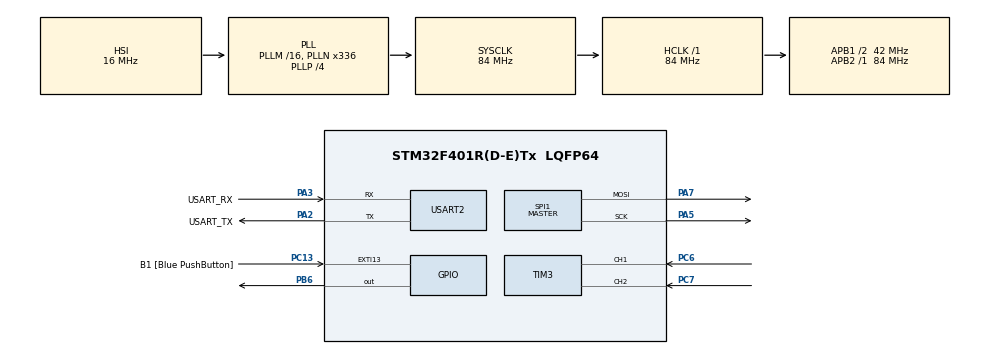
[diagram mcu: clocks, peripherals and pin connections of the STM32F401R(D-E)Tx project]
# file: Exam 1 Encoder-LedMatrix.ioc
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Dma.Request0=USART2_TX
Dma.Request1=SPI1_TX
Dma.SPI1_TX.1.Direction=DMA_MEMORY_TO_PERIPH
Dma.SPI1_TX.1.FIFOMode=DMA_FIFOMODE_DISABLE
Dma.SPI1_TX.1.Instance=DMA2_Stream3
Dma.SPI1_TX.1.MemDataAlignment=DMA_MDATAALIGN_BYTE
Dma.SPI1_TX.1.MemInc=DMA_MINC_ENABLE
Dma.SPI1_TX.1.Mode=DMA_NORMAL
Dma.SPI1_TX.1.PeriphDataAlignment=DMA_PDATAALIGN_BYTE
Dma.SPI1_TX.1.PeriphInc=DMA_PINC_DISABLE
Dma.SPI1_TX.1.Priority=DMA_PRIORITY_LOW
Dma.USART2_TX.0.Direction=DMA_MEMORY_TO_PERIPH
Dma.USART2_TX.0.FIFOMode=DMA_FIFOMODE_DISABLE
Dma.USART2_TX.0.Instance=DMA1_Stream6
Dma.USART2_TX.0.MemDataAlignment=DMA_MDATAALIGN_BYTE
Dma.USART2_TX.0.MemInc=DMA_MINC_ENABLE
Dma.USART2_TX.0.Mode=DMA_NORMAL
Dma.USART2_TX.0.PeriphDataAlignment=DMA_PDATAALIGN_BYTE
Dma.USART2_TX.0.PeriphInc=DMA_PINC_DISABLE
Dma.USART2_TX.0.Priority=DMA_PRIORITY_LOW
Mcu.Family=STM32F4
Mcu.Name=STM32F401R(D-E)Tx
Mcu.Package=LQFP64
NVIC.DMA1_Stream6_IRQn=true\:0\:0\:false\:false\:true\:false\:true\:true
NVIC.DMA2_Stream3_IRQn=true\:0\:0\:false\:false\:true\:false\:true\:true
NVIC.PriorityGroup=NVIC_PRIORITYGROUP_0
NVIC.SPI1_IRQn=true\:0\:0\:false\:false\:true\:true\:true\:true
NVIC.TIM1_UP_TIM10_IRQn=true\:0\:0\:false\:false\:true\:true\:true\:true
NVIC.TIM2_IRQn=true\:0\:0\:false\:false\:true\:true\:true\:true
NVIC.USART2_IRQn=true\:0\:0\:false\:false\:true\:true\:true\:true
PA13.GPIO_Label=TMS
PA13.Mode=Serial_Wire
PA13.Signal=SYS_JTMS-SWDIO
PA14.GPIO_Label=TCK
PA14.Mode=Serial_Wire
PA14.Signal=SYS_JTCK-SWCLK
PA2.GPIO_Label=USART_TX
PA2.GPIO_Mode=GPIO_MODE_AF_PP
PA2.GPIO_PuPd=GPIO_NOPULL
PA2.GPIO_Speed=GPIO_SPEED_FREQ_LOW
PA2.Mode=Asynchronous
PA2.Signal=USART2_TX
PA3.GPIO_Label=USART_RX
PA3.GPIO_Mode=GPIO_MODE_AF_PP
PA3.GPIO_PuPd=GPIO_NOPULL
PA3.GPIO_Speed=GPIO_SPEED_FREQ_LOW
PA3.Mode=Asynchronous
PA3.Signal=USART2_RX
PA5.Mode=TX_Only_Simplex_Unidirect_Master
PA5.Signal=SPI1_SCK
PA7.Mode=TX_Only_Simplex_Unidirect_Master
PA7.Signal=SPI1_MOSI
PB3.GPIO_Label=SWO
PB3.Signal=SYS_JTDO-SWO
PB6.Signal=GPIO_Output
PC13-ANTI_TAMP.GPIO_Label=B1 [Blue PushButton]
PC13-ANTI_TAMP.GPIO_ModeDefaultEXTI=GPIO_MODE_IT_FALLING
PC13-ANTI_TAMP.GPIO_PuPd=GPIO_NOPULL
PC13-ANTI_TAMP.Signal=GPXTI13
PC14-OSC32_IN.Mode=LSE-External-Oscillator
PC14-OSC32_IN.Signal=RCC_OSC32_IN
PC15-OSC32_OUT.Mode=LSE-External-Oscillator
PC15-OSC32_OUT.Signal=RCC_OSC32_OUT
PC6.Signal=S_TIM3_CH1
PC7.Signal=S_TIM3_CH2
PH0\ -\ OSC_IN.Mode=HSE-External-Clock-Source
PH0\ -\ OSC_IN.Signal=RCC_OSC_IN
PH1\ -\ OSC_OUT.Mode=HSE-External-Clock-Source
PH1\ -\ OSC_OUT.Signal=RCC_OSC_OUT
ProjectManager.HeapSize=0x200
ProjectManager.StackSize=0x400
ProjectManager.TargetToolchain=STM32CubeIDE
RCC.48MHZClocksFreq_Value=48000000
RCC.AHBFreq_Value=84000000
RCC.APB1CLKDivider=RCC_HCLK_DIV2
RCC.APB1Freq_Value=42000000
RCC.APB1TimFreq_Value=84000000
RCC.APB2Freq_Value=84000000
RCC.APB2TimFreq_Value=84000000
RCC.CortexFreq_Value=84000000
RCC.HCLKFreq_Value=84000000
RCC.HSE_VALUE=8000000
RCC.HSI_VALUE=16000000
RCC.PLLN=336
RCC.PLLP=RCC_PLLP_DIV4
RCC.PLLQ=7
RCC.SYSCLKFreq_VALUE=84000000
RCC.SYSCLKSource=RCC_SYSCLKSOURCE_PLLCLK
RCC.VCOOutputFreq_Value=336000000
SH.S_TIM3_CH1.0=TIM3_CH1,Encoder_Interface
SH.S_TIM3_CH2.0=TIM3_CH2,Encoder_Interface
SPI1.BaudRatePrescaler=SPI_BAUDRATEPRESCALER_4
SPI1.Direction=SPI_DIRECTION_2LINES
SPI1.Mode=SPI_MODE_MASTER
SPI1.VirtualType=VM_MASTER
TIM1.Period=1000-1
TIM1.Prescaler=8400-1
TIM2.Period=40-1
TIM2.Prescaler=8400-1
TIM3.ClockDivision=TIM_CLOCKDIVISION_DIV4
TIM3.IC1Filter=15
TIM3.IC2Filter=15
TIM3.IC2Polarity=TIM_ICPOLARITY_FALLING
USART2.VirtualMode=VM_ASYNC
VP_TIM1_VS_ClockSourceINT.Mode=Internal
VP_TIM2_VS_ClockSourceINT.Mode=Internal
board=NUCLEO-F401RE

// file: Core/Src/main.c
/* USER CODE BEGIN Header */
/**
 ******************************************************************************
 * @file           : main.c
 * @brief          : Main program body
 ******************************************************************************
 * @attention
 *
 * Copyright (c) 2023 STMicroelectronics.
 * All rights reserved.
 *
 * This software is licensed under terms that can be found in the LICENSE file
 * in the root directory of this software component.
 * If no LICENSE file comes with this software, it is provided AS-IS.
 *
 ******************************************************************************
 */
/* USER CODE END Header */
#include "main.h"

/* USER CODE BEGIN Includes */
#include <stdio.h>
/* USER CODE END Includes */

SPI_HandleTypeDef hspi1;
DMA_HandleTypeDef hdma_spi1_tx;

TIM_HandleTypeDef htim1;
TIM_HandleTypeDef htim2;
TIM_HandleTypeDef htim3;

UART_HandleTypeDef huart2;
DMA_HandleTypeDef hdma_usart2_tx;

/* USER CODE BEGIN PV */
#define N_CHARS 2
const uint8_t data[N_CHARS][5][2] = {
			//-
			{{8, 16},
			{ 8, 8 },
			{ 8, 4 },
			{ 8, 2 },
			{ 8, 1 }},
			//+
			{{8, 16 },
			{ 8, 8 },
			{ 127, 4 },
			{ 8, 2 },
			{ 8, 1 }},
	};

int symbol = 0;
/* USER CODE END PV */

void SystemClock_Config(void);
static void MX_GPIO_Init(void);
static void MX_DMA_Init(void);
static void MX_USART2_UART_Init(void);
static void MX_TIM3_Init(void);
static void MX_TIM1_Init(void);
static void MX_SPI1_Init(void);
static void MX_TIM2_Init(void);

/* USER CODE BEGIN 0 */

void HAL_TIM_PeriodElapsedCallback(TIM_HandleTypeDef *htim) {
	if (htim == &htim1) {
		int16_t delta = __HAL_TIM_GET_COUNTER(&htim3);
		__HAL_TIM_SET_COUNTER(&htim3, 0);

		if(delta > 0){
			symbol = 0;
		}else if( delta < 0){
			symbol = 1;
		}

	}

	if (htim == &htim2) {
		static int idx = 0;
		HAL_SPI_Transmit_DMA(&hspi1, data[symbol][idx], 2);
		idx = (idx + 1) % 5;
	}
}

void HAL_SPI_TxCpltCallback (SPI_HandleTypeDef * hspi){
	HAL_GPIO_TogglePin(GPIOB, GPIO_PIN_6);
	HAL_GPIO_TogglePin(GPIOB, GPIO_PIN_6);
}
/* USER CODE END 0 */

int main(void)
{

  /* MCU Configuration--------------------------------------------------------*/

  /* Reset of all peripherals, Initializes the Flash interface and the Systick. */
  HAL_Init();

  /* Configure the system clock */
  SystemClock_Config();

  /* Initialize all configured peripherals */
  MX_GPIO_Init();
  MX_DMA_Init();
  MX_USART2_UART_Init();
  MX_TIM3_Init();
  MX_TIM1_Init();
  MX_SPI1_Init();
  MX_TIM2_Init();
  /* USER CODE BEGIN 2 */
	HAL_TIM_Encoder_Start_IT(&htim3, TIM_CHANNEL_ALL);
	HAL_TIM_Base_Start_IT(&htim1);
	HAL_TIM_Base_Start_IT(&htim2);
  /* USER CODE END 2 */

  /* Infinite loop */
	while (1) {

	}
}

void SystemClock_Config(void)
{
  RCC_OscInitTypeDef RCC_OscInitStruct = {0};
  RCC_ClkInitTypeDef RCC_ClkInitStruct = {0};

  /** Configure the main internal regulator output voltage
  */
  __HAL_RCC_PWR_CLK_ENABLE();
  __HAL_PWR_VOLTAGESCALING_CONFIG(PWR_REGULATOR_VOLTAGE_SCALE2);

  /** Initializes the RCC Oscillators according to the specified parameters
  * in the RCC_OscInitTypeDef structure.
  */
  RCC_OscInitStruct.OscillatorType = RCC_OSCILLATORTYPE_HSI;
  RCC_OscInitStruct.HSIState = RCC_HSI_ON;
  RCC_OscInitStruct.HSICalibrationValue = RCC_HSICALIBRATION_DEFAULT;
  RCC_OscInitStruct.PLL.PLLState = RCC_PLL_ON;
  RCC_OscInitStruct.PLL.PLLSource = RCC_PLLSOURCE_HSI;
  RCC_OscInitStruct.PLL.PLLM = 16;
  RCC_OscInitStruct.PLL.PLLN = 336;
  RCC_OscInitStruct.PLL.PLLP = RCC_PLLP_DIV4;
  RCC_OscInitStruct.PLL.PLLQ = 7;
  if (HAL_RCC_OscConfig(&RCC_OscInitStruct) != HAL_OK)
  {
    Error_Handler();
  }

  /** Initializes the CPU, AHB and APB buses clocks
  */
  RCC_ClkInitStruct.ClockType = RCC_CLOCKTYPE_HCLK|RCC_CLOCKTYPE_SYSCLK
                              |RCC_CLOCKTYPE_PCLK1|RCC_CLOCKTYPE_PCLK2;
  RCC_ClkInitStruct.SYSCLKSource = RCC_SYSCLKSOURCE_PLLCLK;
  RCC_ClkInitStruct.AHBCLKDivider = RCC_SYSCLK_DIV1;
  RCC_ClkInitStruct.APB1CLKDivider = RCC_HCLK_DIV2;
  RCC_ClkInitStruct.APB2CLKDivider = RCC_HCLK_DIV1;

  if (HAL_RCC_ClockConfig(&RCC_ClkInitStruct, FLASH_LATENCY_2) != HAL_OK)
  {
    Error_Handler();
  }
}

static void MX_SPI1_Init(void)
{

  /* SPI1 parameter configuration*/
  hspi1.Instance = SPI1;
  hspi1.Init.Mode = SPI_MODE_MASTER;
  hspi1.Init.Direction = SPI_DIRECTION_2LINES;
  hspi1.Init.DataSize = SPI_DATASIZE_8BIT;
  hspi1.Init.CLKPolarity = SPI_POLARITY_LOW;
  hspi1.Init.CLKPhase = SPI_PHASE_1EDGE;
  hspi1.Init.NSS = SPI_NSS_SOFT;
  hspi1.Init.BaudRatePrescaler = SPI_BAUDRATEPRESCALER_4;
  hspi1.Init.FirstBit = SPI_FIRSTBIT_MSB;
  hspi1.Init.TIMode = SPI_TIMODE_DISABLE;
  hspi1.Init.CRCCalculation = SPI_CRCCALCULATION_DISABLE;
  hspi1.Init.CRCPolynomial = 10;
  if (HAL_SPI_Init(&hspi1) != HAL_OK)
  {
    Error_Handler();
  }

}

static void MX_TIM1_Init(void)
{

  TIM_ClockConfigTypeDef sClockSourceConfig = {0};
  TIM_MasterConfigTypeDef sMasterConfig = {0};

  htim1.Instance = TIM1;
  htim1.Init.Prescaler = 8400-1;
  htim1.Init.CounterMode = TIM_COUNTERMODE_UP;
  htim1.Init.Period = 1000-1;
  htim1.Init.ClockDivision = TIM_CLOCKDIVISION_DIV1;
  htim1.Init.RepetitionCounter = 0;
  htim1.Init.AutoReloadPreload = TIM_AUTORELOAD_PRELOAD_DISABLE;
  if (HAL_TIM_Base_Init(&htim1) != HAL_OK)
  {
    Error_Handler();
  }
  sClockSourceConfig.ClockSource = TIM_CLOCKSOURCE_INTERNAL;
  if (HAL_TIM_ConfigClockSource(&htim1, &sClockSourceConfig) != HAL_OK)
  {
    Error_Handler();
  }
  sMasterConfig.MasterOutputTrigger = TIM_TRGO_RESET;
  sMasterConfig.MasterSlaveMode = TIM_MASTERSLAVEMODE_DISABLE;
  if (HAL_TIMEx_MasterConfigSynchronization(&htim1, &sMasterConfig) != HAL_OK)
  {
    Error_Handler();
  }

}

static void MX_TIM2_Init(void)
{

  TIM_ClockConfigTypeDef sClockSourceConfig = {0};
  TIM_MasterConfigTypeDef sMasterConfig = {0};

  htim2.Instance = TIM2;
  htim2.Init.Prescaler = 8400-1;
  htim2.Init.CounterMode = TIM_COUNTERMODE_UP;
  htim2.Init.Period = 40-1;
  htim2.Init.ClockDivision = TIM_CLOCKDIVISION_DIV1;
  htim2.Init.AutoReloadPreload = TIM_AUTORELOAD_PRELOAD_DISABLE;
  if (HAL_TIM_Base_Init(&htim2) != HAL_OK)
  {
    Error_Handler();
  }
  sClockSourceConfig.ClockSource = TIM_CLOCKSOURCE_INTERNAL;
  if (HAL_TIM_ConfigClockSource(&htim2, &sClockSourceConfig) != HAL_OK)
  {
    Error_Handler();
  }
  sMasterConfig.MasterOutputTrigger = TIM_TRGO_RESET;
  sMasterConfig.MasterSlaveMode = TIM_MASTERSLAVEMODE_DISABLE;
  if (HAL_TIMEx_MasterConfigSynchronization(&htim2, &sMasterConfig) != HAL_OK)
  {
    Error_Handler();
  }

}

static void MX_TIM3_Init(void)
{

  TIM_Encoder_InitTypeDef sConfig = {0};
  TIM_MasterConfigTypeDef sMasterConfig = {0};

  htim3.Instance = TIM3;
  htim3.Init.Prescaler = 0;
  htim3.Init.CounterMode = TIM_COUNTERMODE_UP;
  htim3.Init.Period = 65535;
  htim3.Init.ClockDivision = TIM_CLOCKDIVISION_DIV4;
  htim3.Init.AutoReloadPreload = TIM_AUTORELOAD_PRELOAD_DISABLE;
  sConfig.EncoderMode = TIM_ENCODERMODE_TI1;
  sConfig.IC1Polarity = TIM_ICPOLARITY_RISING;
  sConfig.IC1Selection = TIM_ICSELECTION_DIRECTTI;
  sConfig.IC1Prescaler = TIM_ICPSC_DIV1;
  sConfig.IC1Filter = 15;
  sConfig.IC2Polarity = TIM_ICPOLARITY_FALLING;
  sConfig.IC2Selection = TIM_ICSELECTION_DIRECTTI;
  sConfig.IC2Prescaler = TIM_ICPSC_DIV1;
  sConfig.IC2Filter = 15;
  if (HAL_TIM_Encoder_Init(&htim3, &sConfig) != HAL_OK)
  {
    Error_Handler();
  }
  sMasterConfig.MasterOutputTrigger = TIM_TRGO_RESET;
  sMasterConfig.MasterSlaveMode = TIM_MASTERSLAVEMODE_DISABLE;
  if (HAL_TIMEx_MasterConfigSynchronization(&htim3, &sMasterConfig) != HAL_OK)
  {
    Error_Handler();
  }

}

static void MX_USART2_UART_Init(void)
{

  huart2.Instance = USART2;
  huart2.Init.BaudRate = 115200;
  huart2.Init.WordLength = UART_WORDLENGTH_8B;
  huart2.Init.StopBits = UART_STOPBITS_1;
  huart2.Init.Parity = UART_PARITY_NONE;
  huart2.Init.Mode = UART_MODE_TX_RX;
  huart2.Init.HwFlowCtl = UART_HWCONTROL_NONE;
  huart2.Init.OverSampling = UART_OVERSAMPLING_16;
  if (HAL_UART_Init(&huart2) != HAL_OK)
  {
    Error_Handler();
  }

}

static void MX_DMA_Init(void)
{

  /* DMA controller clock enable */
  __HAL_RCC_DMA1_CLK_ENABLE();
  __HAL_RCC_DMA2_CLK_ENABLE();

  /* DMA interrupt init */
  /* DMA1_Stream6_IRQn interrupt configuration */
  HAL_NVIC_SetPriority(DMA1_Stream6_IRQn, 0, 0);
  HAL_NVIC_EnableIRQ(DMA1_Stream6_IRQn);
  /* DMA2_Stream3_IRQn interrupt configuration */
  HAL_NVIC_SetPriority(DMA2_Stream3_IRQn, 0, 0);
  HAL_NVIC_EnableIRQ(DMA2_Stream3_IRQn);

}

static void MX_GPIO_Init(void)
{
  GPIO_InitTypeDef GPIO_InitStruct = {0};

  /* GPIO Ports Clock Enable */
  __HAL_RCC_GPIOC_CLK_ENABLE();
  __HAL_RCC_GPIOH_CLK_ENABLE();
  __HAL_RCC_GPIOA_CLK_ENABLE();
  __HAL_RCC_GPIOB_CLK_ENABLE();

  /*Configure GPIO pin Output Level */
  HAL_GPIO_WritePin(GPIOB, GPIO_PIN_6, GPIO_PIN_RESET);

  /*Configure GPIO pin : B1_Pin */
  GPIO_InitStruct.Pin = B1_Pin;
  GPIO_InitStruct.Mode = GPIO_MODE_IT_FALLING;
  GPIO_InitStruct.Pull = GPIO_NOPULL;
  HAL_GPIO_Init(B1_GPIO_Port, &GPIO_InitStruct);

  /*Configure GPIO pin : PB6 */
  GPIO_InitStruct.Pin = GPIO_PIN_6;
  GPIO_InitStruct.Mode = GPIO_MODE_OUTPUT_PP;
  GPIO_InitStruct.Pull = GPIO_NOPULL;
  GPIO_InitStruct.Speed = GPIO_SPEED_FREQ_LOW;
  HAL_GPIO_Init(GPIOB, &GPIO_InitStruct);

}

void Error_Handler(void)
{
	__disable_irq();
	while (1) {
	}
}
